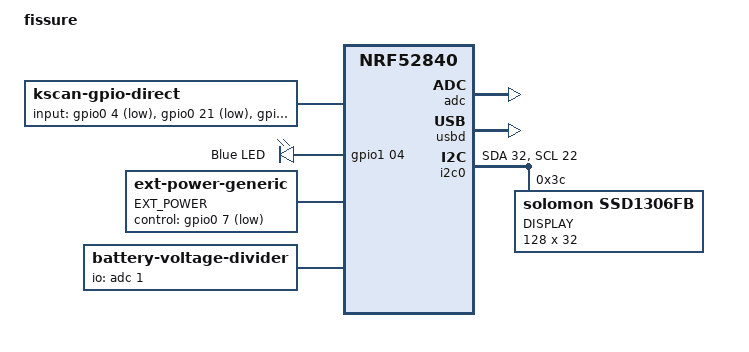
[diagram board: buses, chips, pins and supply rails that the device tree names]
/*
 * Copyright (c) 2020 Pete Johanson
 *
 * SPDX-License-Identifier: MIT
 */

/dts-v1/;
#include <nordic/nrf52840_qiaa.dtsi>
#include <dt-bindings/zmk/matrix_transform.h>

/ {
    model = "fissure";
    compatible = "fissure";

    chosen {
        zephyr,code-partition = &code_partition;
        zephyr,sram = &sram0;
        zephyr,flash = &flash0;
        zmk,kscan = &kscan0;
		zmk,matrix_transform = &transform;
		/* zmk,underglow = &neopixel; */
    };

#define K(n) RC(0,n)
	transform: transform {
		compatible = "zmk,matrix-transform";
		columns = <11>;
		rows = <4>;
		map = <
K(21) K(22) K(23) K(24) K(25)  K(5)  K(4)  K(3)  K(2)  K(1)  K(0)
K(27) K(28) K(29) K(30) K(31)  K(11) K(10) K(9)  K(8)  K(7)  K(6)
K(32) K(33) K(34) K(35) K(36)  K(16) K(15) K(14) K(13) K(12)
            K(37) K(38) K(39)  K(19) K(18) K(17)
		>;
	};

    kscan0: kscan {
        compatible = "zmk,kscan-gpio-direct";

        label = "KSCAN";
        input-gpios
            = <&gpio0  4 (GPIO_ACTIVE_LOW | GPIO_PULL_UP)>
            , <&gpio0 21 (GPIO_ACTIVE_LOW | GPIO_PULL_UP)>
            , <&gpio1  6 (GPIO_ACTIVE_LOW | GPIO_PULL_UP)>
            , <&gpio0 10 (GPIO_ACTIVE_LOW | GPIO_PULL_UP)>
            , <&gpio0  9 (GPIO_ACTIVE_LOW | GPIO_PULL_UP)>
            , <&gpio1  2 (GPIO_ACTIVE_LOW | GPIO_PULL_UP)>

            , <&gpio0  5 (GPIO_ACTIVE_LOW | GPIO_PULL_UP)>
            , <&gpio0 12 (GPIO_ACTIVE_LOW | GPIO_PULL_UP)>
            , <&gpio0 14 (GPIO_ACTIVE_LOW | GPIO_PULL_UP)>
            , <&gpio0 15 (GPIO_ACTIVE_LOW | GPIO_PULL_UP)>
            , <&gpio1  3 (GPIO_ACTIVE_LOW | GPIO_PULL_UP)>
            , <&gpio1  1 (GPIO_ACTIVE_LOW | GPIO_PULL_UP)>

            , <&gpio1  9 (GPIO_ACTIVE_LOW | GPIO_PULL_UP)>
            , <&gpio0 23 (GPIO_ACTIVE_LOW | GPIO_PULL_UP)>
            , <&gpio0 17 (GPIO_ACTIVE_LOW | GPIO_PULL_UP)>
            , <&gpio0 20 (GPIO_ACTIVE_LOW | GPIO_PULL_UP)>
            , <&gpio0 24 (GPIO_ACTIVE_LOW | GPIO_PULL_UP)>

            , <&gpio0 13 (GPIO_ACTIVE_LOW | GPIO_PULL_UP)>
            , <&gpio0 16 (GPIO_ACTIVE_LOW | GPIO_PULL_UP)>
            , <&gpio1  5 (GPIO_ACTIVE_LOW | GPIO_PULL_UP)>
            ;
    };

    leds {
        compatible = "gpio-leds";
        blue_led: led_0 {
            gpios = <&gpio1 04 GPIO_ACTIVE_HIGH>;
            label = "Blue LED";
        };
    };

    ext-power {
        compatible = "zmk,ext-power-generic";
        label = "EXT_POWER";
        control-gpios = <&gpio0 7 GPIO_ACTIVE_LOW>;
    };

    vbatt {
        compatible = "zmk,battery-voltage-divider";
        label = "BATTERY";
        io-channels = <&adc 1>;
        output-ohms = <2000000>;
        full-ohms = <(2000000 + 2000000)>;
    };
};

&adc {
    status = "okay";
};

&gpiote {
    status = "okay";
};

&gpio0 {
    status = "okay";
};

&gpio1 {
    status = "okay";
};

&usbd {
    status = "okay";
};


&flash0 {
    /*
     * For more information, see:
     * http://docs.zephyrproject.org/latest/devices/dts/flash_partitions.html
     */
    partitions {
        compatible = "fixed-partitions";
        #address-cells = <1>;
        #size-cells = <1>;

        sd_partition: partition@0 {
            label = "mbr";
            reg = <0x00000000 0x00001000>;
        };
        code_partition: partition@1000 {
            label = "code_partition";
            reg = <0x00001000 0x000d3000>;
        };

        /*
         * The flash starting at 0x000d4000 and ending at
         * 0x000f3fff is reserved for use by the application.
         */

        /*
         * Storage partition will be used by FCB/LittleFS/NVS
         * if enabled.
         */
        storage_partition: partition@d4000 {
            label = "storage";
            reg = <0x000d4000 0x00020000>;
        };

        boot_partition: partition@f4000 {
            label = "adafruit_boot";
            reg = <0x000f4000 0x0000c000>;
        };
    };
};

/* &qspi { */
/*     status = "okay"; */
/*     sck-pin = <26>; */
/*     io-pins = <8>, <40>; */
/*     csn-pins = <25>; */
/*     nor-flash { */
/*         compatible = "nordic,qspi-nor"; */
/*         label = "steno flash"; */
/*         status = "okay"; */
/*         sck-delay = <2>; */
/*         sck-frequency = <8000000> */

/*         jedec-id = [20 ba 18]; */
/*         size = <0x8000000>; */
/*         has-dpd; */
/*         t-enter-dpd = <3000>; */
/*         t-exit-dpd = <30000>; */
/*     }; */
/* }; */

&i2c0 {
    compatible = "nordic,nrf-twi";
    status = "okay";
    sda-pin = <32>;
    scl-pin = <22>;

	oled: ssd1306@3c {
		compatible = "solomon,ssd1306fb";
        status = "okay";
		reg = <0x3c>;
		label = "DISPLAY";
		width = <128>;
		height = <32>;
		segment-offset = <0>;
		page-offset = <0>;
		display-offset = <0>;
		multiplex-ratio = <31>;
		segment-remap;
		com-invdir;
		com-sequential;
		prechargep = <0x22>;
	};
};

/* &spi1 { */
/* 	compatible = "nordic,nrf-spim"; */
/* 	/1* Cannot be used together with i2c0. *1/ */
/* 	status = "okay"; */
/* 	mosi-pin = <19>; */
/* 	// Unused pins, needed for SPI definition, but not used by the ws2812 driver itself. */
/* 	sck-pin = <6>; */
/* 	miso-pin = <11>; */

/* 	neopixel: ws2812@0 { */
/* 		compatible = "worldsemi,ws2812-spi"; */
/* 		label = "SK6812mini"; */

/* 		/1* SPI *1/ */
/* 		reg = <0>; /1* ignored, but necessary for SPI bindings *1/ */
/* 		spi-max-frequency = <4000000>; */

/* 		/1* WS2812 *1/ */
/* 		chain-length = <1>; */
/* 		spi-one-frame = <0x70>; */
/* 		spi-zero-frame = <0x40>; */
/* 	}; */
/* }; */
